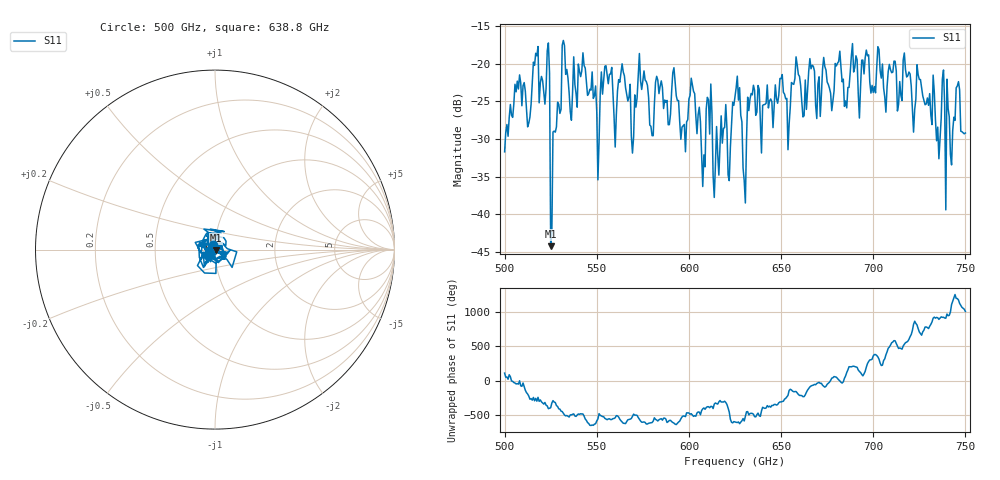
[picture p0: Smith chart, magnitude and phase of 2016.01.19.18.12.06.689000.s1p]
!Created with skrf (http://scikit-rf.org).
# GHz S RI R 50.0
!freq ReS11 ImS11
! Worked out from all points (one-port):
!   401 points, 500 GHz to 750 GHz, reference 50 ohm
!   lowest |S11| = -44.2 dB at 525 GHz (marker M1), VSWR 1.01, Z = 50.5 - j0.335 ohm
!   |S11| at or under -10 dB: start of sweep to end of sweep
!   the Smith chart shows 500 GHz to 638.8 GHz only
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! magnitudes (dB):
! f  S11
! 500 GHz  -31.7
! 506.9 GHz  -22.3
! 513.1 GHz  -27.9
! 516.9 GHz  -18.6
! 523.1 GHz  -18.3
! 525 GHz  -44.2
! 526.2 GHz  -29.1
! 531.2 GHz  -17.5
! 550 GHz  -26.4
! 562.5 GHz  -22.4
! 570 GHz  -29.7
! 574.4 GHz  -23.4
! 580 GHz  -29.5
! 583.1 GHz  -22.2
! 593.8 GHz  -24.9
! 596.9 GHz  -28.2
! 601.9 GHz  -22.8
! 607.5 GHz  -36.3
! 611.2 GHz  -29.3
! 614.4 GHz  -33.5
! 621.9 GHz  -35.5
! 625 GHz  -24.4
! 630 GHz  -35.5
! 634.4 GHz  -24.1
! 656.2 GHz  -22.6
! 687.5 GHz  -21.2
! 718.8 GHz  -21.6
! 750 GHz  -29.2
